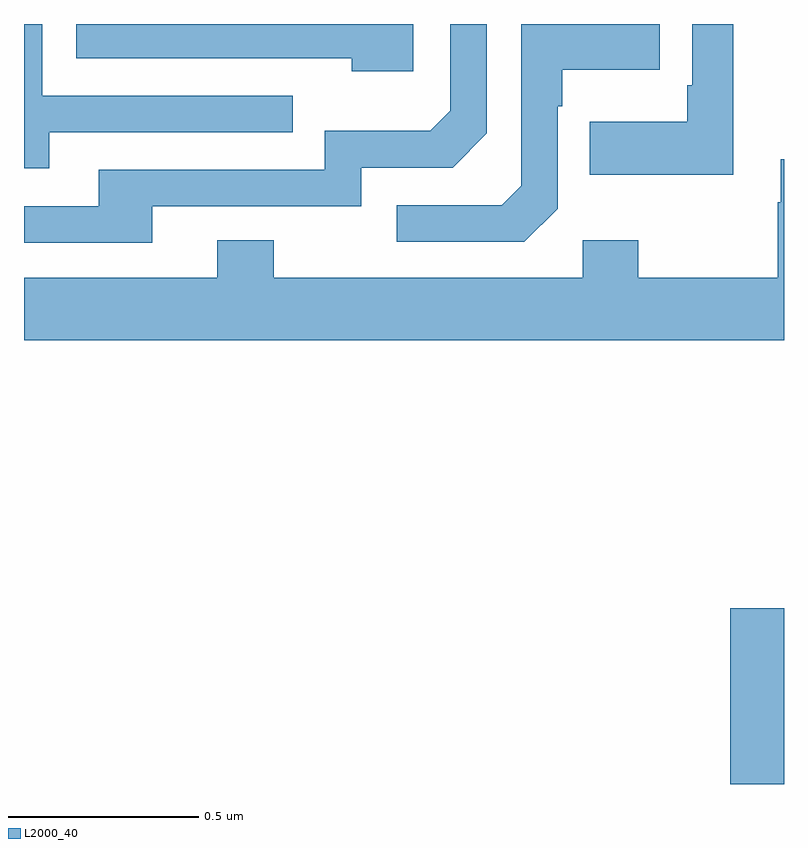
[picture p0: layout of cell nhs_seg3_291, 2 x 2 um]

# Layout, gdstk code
import gdstk
lib = gdstk.Library(unit=1e-6, precision=1e-09)
def R(c, l, rs):  # rectangles x0, y0, x1, y1
    for r in rs: c.add(gdstk.rectangle(r[:2], r[2:], *l))
def P(c, l, *ps):  # polygons
    for p in ps: c.add(gdstk.Polygon(p, *l))
L2000_40 = (2000, 40)

nhs_seg3_291 = lib.new_cell('nhs_seg3_291')
R(nhs_seg3_291, L2000_40, [(115.859,714.4,116,714.862)])
P(nhs_seg3_291, L2000_40, [(115.867,716.4),(115.758,716.4),(115.758,716.239),(115.746,716.239),(115.746,716.143),(115.489,716.143),(115.489,716.003),(115.867,716.003)],
  [(115.024,716.4),(114.138,716.4),(114.138,716.31),(114.863,716.31),(114.863,716.276),(115.024,716.276)],
  [(114.067,716.115),(114.707,716.115),(114.707,716.211),(114.048,716.211),(114.048,716.4),(114,716.4),(114,716.021),(114.067,716.021)],
  [(115.404,715.914),(115.404,716.183),(115.417,716.183),(115.417,716.279),(115.673,716.279),(115.673,716.4),(115.308,716.4),(115.308,715.974),(115.257,715.923),(114.981,715.923),(114.981,715.827),(115.317,715.827)],
  [(114.337,715.92),(114.888,715.92),(114.888,716.022),(115.128,716.022),(115.218,716.112),(115.218,716.4),(115.122,716.4),(115.122,716.172),(115.069,716.119),(114.792,716.119),(114.792,716.016),(114.197,716.016),(114.197,715.92),(114,715.92),(114,715.824),(114.337,715.824)],
  [(116,716.044),(115.991,716.044),(115.991,715.931),(115.984,715.931),(115.984,715.732),(115.617,715.732),(115.617,715.831),(115.47,715.831),(115.47,715.732),(114.657,715.732),(114.657,715.831),(114.509,715.831),(114.509,715.732),(114,715.732),(114,715.568),(116,715.568)])

lib.write_gds('nhs_seg3_291.gds')
